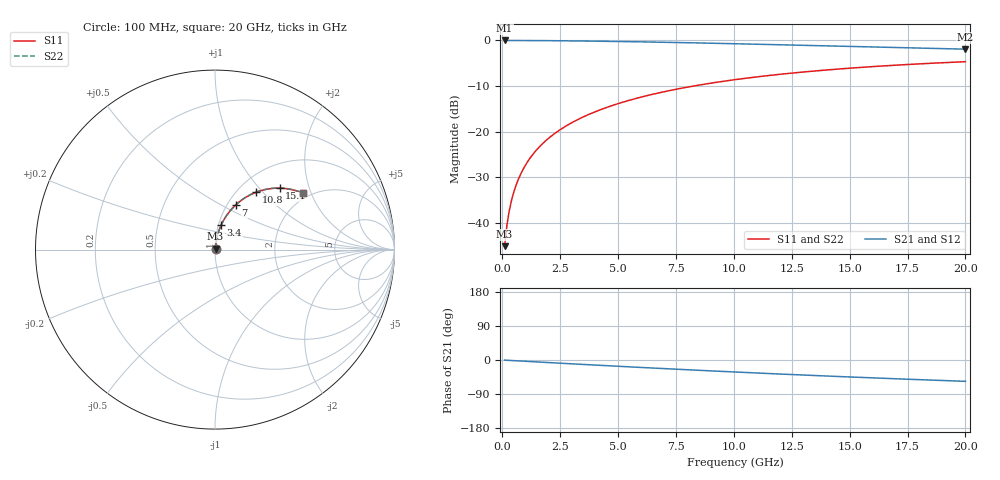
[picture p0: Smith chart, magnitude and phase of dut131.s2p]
! Touchstone file exported from HFSS 2026.1.0
!  File:  C:/ffzhzh/LocalFiles/Ansys_Project_Files/temp_train_TMRDL_131_1782982778_40604.aedt
!  Generated:  05:01:03 PM Jul  2, 2026
!  Design:  TMRDL
!  Project:  temp_train_TMRDL_131_1782982778_40604
! Variables:
!  h_bsmrdl = 2um
!  h_ox = 20um
!  h_rdl = 5um
!  h_sub = 80um
!  h_tmrdl = 5.99um
!  h_tsv = 80um
!  h_via = 3um
!  l_bsmrdl = 300um
!  l_sub = 1210.28um
!  l_tmrdl = 810.28um
!  m_sub = 200um
!  pitch = 59.93um
!  r_tsv = 6um
!  s_tmrdl = 10um
!  w_bsmrdl = 18um
!  w_sub = 500um
!  w_tmrdl = 14.37um
!  x_tsv_center1 = 817.465um
!  x_tsv_center2 = 1135.465um
!  x_tsv_center3 = 1960.115um
!  x_tsv_center4 = 2278.115um
!  x_tsv_center5 = 3102.765um
!  x_tsv_center6 = 3420.765um
# GHz S MA R 50.000000
! Terminal data exported
! Port[1] = TM_RDL1_1_T1
! Port[2] = TM_RDL1_1_T2
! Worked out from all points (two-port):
!   200 points, 100 MHz to 20 GHz, reference 50 ohm
!   highest |S21| = -0.03 dB at 100 MHz (marker M1); lowest = -1.9 dB at 20 GHz (marker M2)
!   |S21| within 3 dB of the highest: start of sweep to end of sweep
!   lowest |S11| = -45.1 dB at 100 MHz (marker M3), VSWR 1.01, Z = 50.3 + j0.44 ohm
!   |S11| at or under -10 dB: start of sweep to 8.279 GHz
!   |S22| runs from -45.1 to -4.7 dB; largest |S21 - S12| = 2.6e-14
!   S11 on the Smith chart (normalised r, x): 100 MHz: 1.01, +0.01; 3.4 GHz: 1.03, +0.29; 7 GHz: 1.10, +0.59; 10.8 GHz: 1.21, +0.91; 15.1 GHz: 1.43, +1.30; 20 GHz: 1.85, +1.76
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0.1  0.005543 52.1  0.9966 -0.3  0.9966 -0.3  0.005543 52.1
! Gamma 0 0 0 0
! Port Impedance 50 0 50 0
0.2  0.009406 67.6  0.9965 -0.7  0.9965 -0.7  0.009406 67.6
0.3  0.01352 73.6  0.9963 -1.0  0.9963 -1.0  0.01352 73.6
0.4  0.01768 76.6  0.9962 -1.4  0.9962 -1.4  0.01767 76.6
0.5  0.02185 78.3  0.996 -1.7  0.996 -1.7  0.02185 78.4
0.7  0.03023 80.2  0.9957 -2.4  0.9957 -2.4  0.03023 80.2
1  0.04282 81.0  0.995 -3.4  0.995 -3.4  0.04282 81.1
1.4  0.05956 80.9  0.9938 -4.8  0.9938 -4.8  0.05956 81.0
2  0.08445 79.8  0.9914 -6.8  0.9914 -6.8  0.08445 79.8
2.6  0.109 78.2  0.9884 -8.8  0.9884 -8.8  0.109 78.2
3.4  0.141 75.9  0.9835 -11.4  0.9835 -11.4  0.141 75.9
3.5  0.1449 75.6  0.9828 -11.8  0.9828 -11.8  0.1449 75.6
5  0.2023 71.1  0.9711 -16.6  0.9711 -16.6  0.2023 71.1
6.8  0.2669 65.7  0.9541 -22.2  0.9541 -22.2  0.2669 65.8
7  0.2738 65.1  0.9521 -22.8  0.9521 -22.8  0.2738 65.2
8.5  0.3233 60.8  0.9357 -27.3  0.9357 -27.3  0.3233 60.9
10.1  0.3721 56.4  0.917 -31.9  0.917 -31.9  0.372 56.5
10.8  0.3921 54.5  0.9085 -33.8  0.9085 -33.8  0.392 54.6
13.4  0.4592 47.7  0.8764 -40.7  0.8764 -40.7  0.4591 47.8
15.1  0.4971 43.5  0.8555 -45.0  0.8555 -45.0  0.4971 43.7
16.7  0.5288 39.7  0.8365 -48.9  0.8365 -48.9  0.5288 39.9
20  0.5831 32.5  0.8002 -56.3  0.8002 -56.3  0.583 32.7
